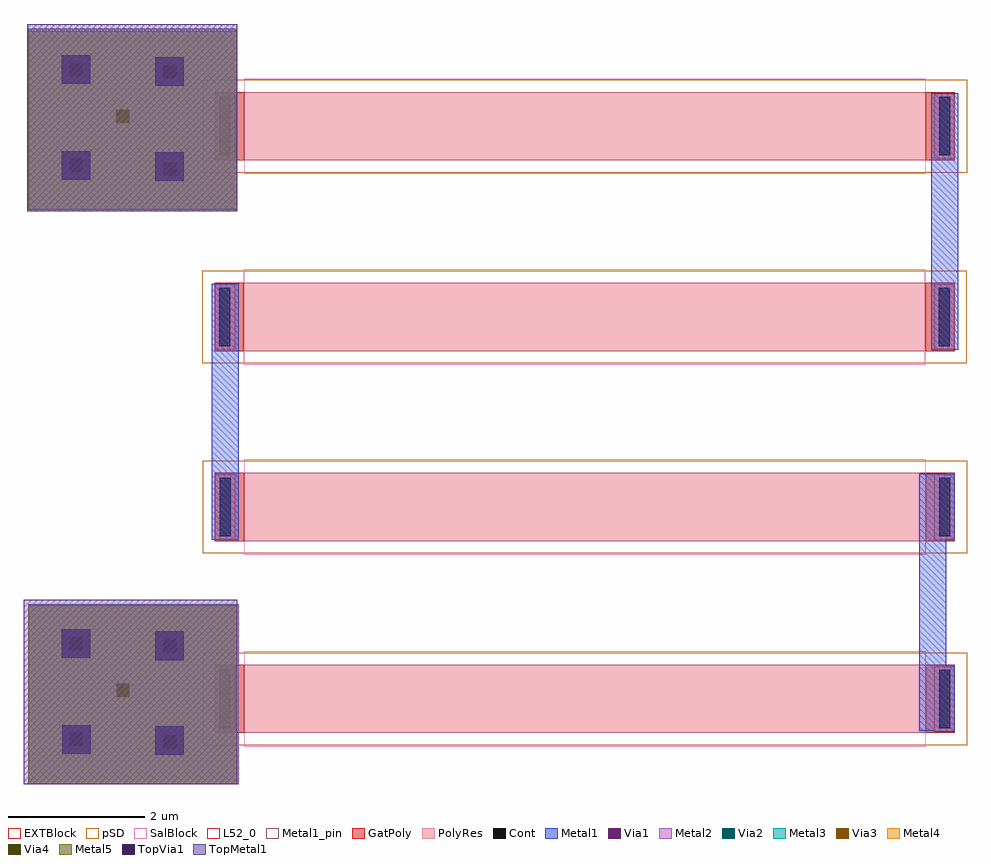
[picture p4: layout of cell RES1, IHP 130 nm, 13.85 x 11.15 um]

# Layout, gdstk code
from math import pi, radians
import gdstk
lib = gdstk.Library(unit=1e-6, precision=1e-09)
def R(c, l, rs):  # rectangles x0, y0, x1, y1
    for r in rs: c.add(gdstk.rectangle(r[:2], r[2:], *l))
GatPoly = (5, 0)
Cont = (6, 0)
Metal1 = (8, 0)
Metal1_pin = (8, 2)
Metal2 = (10, 0)
pSD = (14, 0)
Via1 = (19, 0)
SalBlock = (28, 0)
Via2 = (29, 0)
Metal3 = (30, 0)
Via3 = (49, 0)
Metal4 = (50, 0)
L52_0 = (52, 0)
Via4 = (66, 0)
Metal5 = (67, 0)
EXTBlock = (111, 0)
TopVia1 = (125, 0)
TopMetal1 = (126, 0)
PolyRes = (128, 0)

rppd = lib.new_cell('rppd')
R(rppd, GatPoly, [(0,-0.43,1,-0.2), (0,-0.2,1,0), (0,10,1,10.2), (0,10.2,1,10.43)])
R(rppd, Cont, [(0.07,-0.36,0.93,-0.2), (0.07,10.2,0.93,10.36)])
R(rppd, Metal1, [(0.02,-0.43,0.98,-0.13), (0.02,10.13,0.98,10.43)])
R(rppd, Metal1_pin, [(0.02,-0.43,0.98,-0.13), (0.02,10.13,0.98,10.43)])
R(rppd, pSD, [(-0.18,-0.61,1.18,0), (-0.18,0,1.18,10), (-0.18,10,1.18,10.61)])
R(rppd, SalBlock, [(-0.2,0,1.2,10)])
R(rppd, L52_0, [(0,0,1,10)])
R(rppd, EXTBlock, [(-0.18,-0.61,1.18,0), (-0.2,0,1.2,10), (-0.18,10,1.18,10.61)])
R(rppd, PolyRes, [(0,0,1,10)])
rppd.add(gdstk.Label('rppd r=2654.493', (0.5,5), layer=63, texttype=0))
rppd.add(gdstk.Label('rppd', (0.5,5), layer=52, texttype=0))

res1 = lib.new_cell('RES1')
R(res1, Metal1, [(0.065,0,3.13,2.625), (13.14,0.78,13.54,4.555), (2.755,3.585,3.155,7.345), (13.315,6.375,13.715,10.135), (0.065,8.425,3.135,11.085)])
R(res1, Metal2, [(0.065,0,3.155,2.635), (0.065,8.43,3.13,11.055)])
R(res1, Via1, [(2.05,0.515,2.24,0.705), (0.675,0.565,0.865,0.755), (1.36,1.28,1.55,1.47), (2.05,1.93,2.24,2.12), (0.675,1.965,0.865,2.155), (2.045,8.925,2.235,9.115), (0.67,8.985,0.86,9.175), (1.355,9.705,1.545,9.895), (2.045,10.36,2.235,10.55), (0.67,10.39,0.86,10.58)])
R(res1, Via2, [(2.05,0.515,2.24,0.705), (0.675,0.565,0.865,0.755), (1.36,1.28,1.55,1.47), (2.05,1.93,2.24,2.12), (0.675,1.965,0.865,2.155), (2.045,8.925,2.235,9.115), (0.67,8.985,0.86,9.175), (1.355,9.705,1.545,9.895), (2.045,10.36,2.235,10.55), (0.67,10.39,0.86,10.58)])
R(res1, Metal3, [(0.065,0,3.13,2.63), (0.065,8.43,3.13,11.055)])
R(res1, Via3, [(2.05,0.515,2.24,0.705), (0.675,0.565,0.865,0.755), (1.36,1.28,1.55,1.47), (2.05,1.93,2.24,2.12), (0.675,1.965,0.865,2.155), (2.045,8.925,2.235,9.115), (0.67,8.985,0.86,9.175), (1.355,9.705,1.545,9.895), (2.045,10.36,2.235,10.55), (0.67,10.39,0.86,10.58)])
R(res1, Metal4, [(0.065,0,3.13,2.625), (0.065,8.43,3.13,11.055)])
R(res1, Via4, [(2.05,0.515,2.24,0.705), (0.675,0.565,0.865,0.755), (1.36,1.28,1.55,1.47), (2.05,1.93,2.24,2.12), (0.675,1.965,0.865,2.155), (2.045,8.925,2.235,9.115), (0.67,8.985,0.86,9.175), (1.355,9.705,1.545,9.895), (2.045,10.36,2.235,10.55), (0.67,10.39,0.86,10.58)])
R(res1, Metal5, [(0.065,0,3.13,2.625), (0.065,8.43,3.13,11.055)])
R(res1, TopVia1, [(1.93,0.43,2.35,0.85), (0.565,0.445,0.985,0.865), (1.93,1.82,2.35,2.24), (0.555,1.85,0.975,2.27), (1.93,8.855,2.35,9.275), (0.555,8.87,0.975,9.29), (1.93,10.245,2.35,10.665), (0.555,10.275,0.975,10.695)])
R(res1, TopMetal1, [(0,0,3.13,2.705), (0.05,8.405,3.13,11.155)])
res1.add(gdstk.Reference(rppd, (3.235,10.155), rotation=3*pi/2))
res1.add(gdstk.Reference(rppd, (3.23,7.355), rotation=3*pi/2))
res1.add(gdstk.Reference(rppd, (3.235,4.565), rotation=3*pi/2))
res1.add(gdstk.Reference(rppd, (3.235,1.75), rotation=3*pi/2))

lib.write_gds('RES1.gds')
